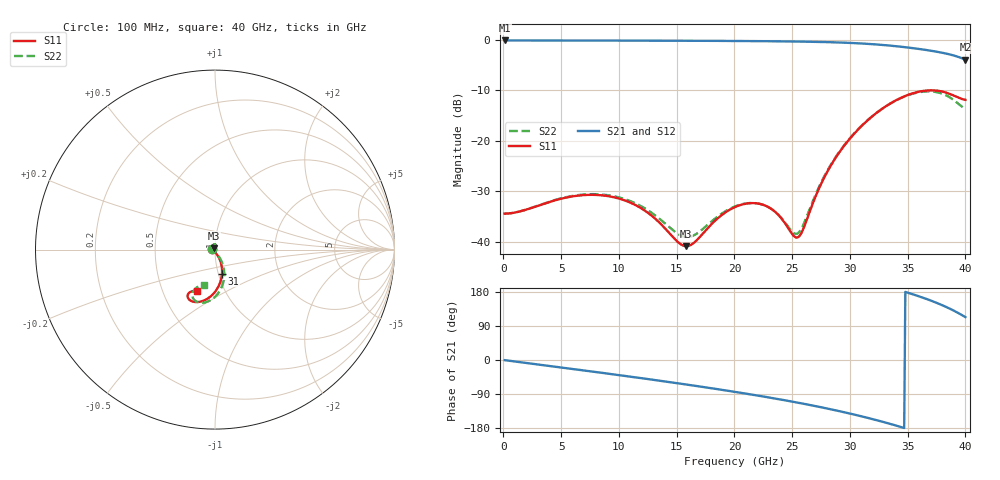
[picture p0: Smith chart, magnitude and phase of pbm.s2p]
! A_s4_d300_ap1000: physics-based via model (prototype), ports at the via
# Hz S RI R 50
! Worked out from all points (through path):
!   400 points, 100 MHz to 40 GHz, reference 50 ohm
!   highest |S21| = -0.17 dB at 100 MHz (marker M1); lowest = -4.0 dB at 40 GHz (marker M2)
!   group delay of S21, straight-line fit = 15.3 ps
!   lowest |S11| = -40.8 dB at 15.8 GHz (marker M3), VSWR 1.02, Z = 49.5 + j0.733 ohm
!   |S11| at or under -10 dB: start of sweep to end of sweep
!   |S22| runs from -39.0 to -10.2 dB; largest |S21 - S12| = 0
!   S11 on the Smith chart (normalised r, x): 100 MHz: 0.96, +0.00; 31 GHz: 1.04, -0.29; 40 GHz: 0.74, -0.37
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1e8  -0.0191 0.000603  0.9809 -0.00674  0.9809 -0.00674  -0.0191 0.000593
6.8e9  -0.00425 0.0287  0.8733 -0.4432  0.8733 -0.4432  -0.00586 0.0288
1.04e10  0.00386 0.0257  0.7323 -0.6481  0.7323 -0.6481  0.00142 0.0268
1.34e10  0.00225 0.0158  0.5728 -0.7906  0.5728 -0.7906  -1.69e-05 0.0174
1.51e10  -0.00262 0.00966  0.4664 -0.8564  0.4664 -0.8564  -0.00446 0.0112
1.58e10  -0.00528 0.00741  0.4195 -0.8797  0.4195 -0.8797  -0.0069 0.0088
1.67e10  -0.00907 0.00492  0.3565 -0.9062  0.3565 -0.9062  -0.0104 0.00606
1.86e10  -0.0173 0.00159  0.2147 -0.9476  0.2147 -0.9476  -0.0179 0.00189
2.01e10  -0.0223 0.000774  0.0952 -0.9648  0.0952 -0.9648  -0.0226 0.000232
2.16e10  -0.0242 0.000803  -0.0297 -0.9665  -0.0297 -0.9665  -0.0243 -0.00055
2.29e10  -0.0223 0.000286  -0.1412 -0.9539  -0.1412 -0.9539  -0.0222 -0.00156
2.38e10  -0.0185 -0.00123  -0.2196 -0.9367  -0.2196 -0.9367  -0.0184 -0.00322
2.54e10  -0.00688 -0.00866  -0.3596 -0.8871  -0.3596 -0.8871  -0.00626 -0.0103
2.59e10  -0.00208 -0.0128  -0.4031 -0.8662  -0.4031 -0.8662  -0.00117 -0.0142
2.67e10  0.00643 -0.0217  -0.4717 -0.8268  -0.4717 -0.8268  0.00802 -0.0225
2.85e10  0.0265 -0.0548  -0.6181 -0.7099  -0.6181 -0.7099  0.0309 -0.0537
3.1e10  0.039 -0.1342  -0.7816 -0.4774  -0.7816 -0.4774  0.0515 -0.1308
3.34e10  0.00411 -0.2301  -0.8544 -0.1848  -0.8544 -0.1848  0.0275 -0.2283
3.53e10  -0.0634 -0.2843  -0.8245 0.0738  -0.8245 0.0738  -0.0341 -0.2868
3.7e10  -0.1301 -0.2873  -0.7149 0.3046  -0.7149 0.3046  -0.1014 -0.2904
3.85e10  -0.152 -0.2527  -0.5327 0.4852  -0.5327 0.4852  -0.1257 -0.2445
4e10  -0.1003 -0.2334  -0.249 0.5819  -0.249 0.5819  -0.0615 -0.1972
